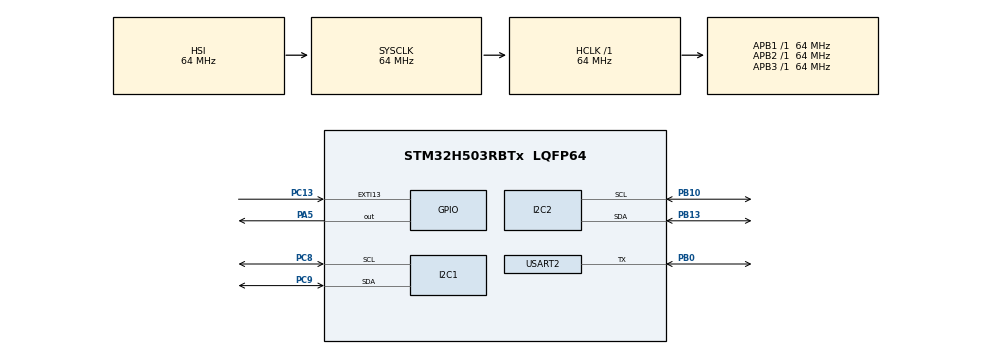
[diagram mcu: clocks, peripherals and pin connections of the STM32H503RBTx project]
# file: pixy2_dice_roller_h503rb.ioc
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BOOTPATH.BootPathName=LEGACY
BOOTPATH.UserSelectedBootPath=LEGACY
I2C1.Timing=0x10707DBC
I2C2.Timing=0x10707DBC
Mcu.Family=STM32H5
Mcu.Name=STM32H503RBTx
Mcu.Package=LQFP64
NUCLEO-H503RB.BUTTON=1
NUCLEO-H503RB.Bsp_Common_DEMO=true
NUCLEO-H503RB.LD2=true
NUCLEO-H503RB.VCP=true
NVIC.EXTI13_IRQn=true\:0\:0\:false\:false\:true\:false\:true\:true
NVIC.PriorityGroup=NVIC_PRIORITYGROUP_4
PA3.Signal=USART3_RX
PA4.Signal=USART3_TX
PA5.Signal=GPIO_Output
PB0.GPIO_PuPd=GPIO_PULLUP
PB0.Mode=Half_duplex(single_wire_mode)
PB0.Signal=USART2_TX
PB10.GPIO_Pu=GPIO_PULLUP
PB10.Mode=I2C
PB10.Signal=I2C2_SCL
PB13.GPIO_Pu=GPIO_PULLUP
PB13.Mode=I2C
PB13.Signal=I2C2_SDA
PC13.Signal=GPXTI13
PC8.Mode=I2C
PC8.Signal=I2C1_SCL
PC9.Mode=I2C
PC9.Signal=I2C1_SDA
ProjectManager.HeapSize=0x200
ProjectManager.StackSize=0x400
ProjectManager.TargetToolchain=STM32CubeIDE
RCC.ADCFreq_Value=64000000
RCC.AHBFreq_Value=64000000
RCC.APB1Freq_Value=64000000
RCC.APB1TimFreq_Value=64000000
RCC.APB2Freq_Value=64000000
RCC.APB2TimFreq_Value=64000000
RCC.APB3Freq_Value=64000000
RCC.CSI_VALUE=4000000
RCC.CortexFreq_Value=64000000
RCC.EPOD_VALUE=4000000
RCC.HCLKFreq_Value=64000000
RCC.HSE_VALUE=24000000
RCC.HSI48_VALUE=48000000
RCC.HSIDiv=RCC_HSI_DIV1
RCC.HSI_VALUE=64000000
RCC.LSE_VALUE=32768
RCC.LSIRC_VALUE=32000
RCC.PLLN=32
RCC.SYSCLKFreq_VALUE=64000000
RCC.USBFreq_Value=48000000
RCC.VCOOutputFreq_Value=128000000
USART2.BaudRate=1000000
USART2.VirtualMode-Half_duplex(single_wire_mode)=VM_ASYNC
VP_BOOTPATH_VS_BOOTPATH.Mode=BP_Activate
VP_CORTEX_M33_NS_VS_Hclk.Mode=Hclk_Mode
VP_ICACHE_VS_ICACHE.Mode=DirectMappedCache
VP_MEMORYMAP_VS_MEMORYMAP.Mode=CurAppReg
VP_NUCLEO-H503RB_VS_BSP_COMMON.Mode=COMMON
VP_PWR_VS_DBSignals.Mode=DisableDeadBatterySignals
VP_PWR_VS_LPOM.Mode=PowerOptimisation
VP_PWR_VS_SECSignals.Mode=Security/Privilege
board=NUCLEO-H503RB

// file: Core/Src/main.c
/* USER CODE BEGIN Header */
/**
 ******************************************************************************
 * @file           : main.c
 * @brief          : Main program body
 ******************************************************************************
 * @attention
 *
 * Copyright (c) 2024 STMicroelectronics.
 * All rights reserved.
 *
 * This software is licensed under terms that can be found in the LICENSE file
 * in the root directory of this software component.
 * If no LICENSE file comes with this software, it is provided AS-IS.
 *
 ******************************************************************************
 */
/* USER CODE END Header */
#include "main.h"
#include "i2c.h"
#include "icache.h"
#include "memorymap.h"
#include "usart.h"
#include "gpio.h"

/* USER CODE BEGIN Includes */
#include <stdio.h>
#include <stdlib.h>
#include <string.h>

#include "ssd1306.h"
#include "sts3215_servo.h"
#include "pixy2.h"
/* USER CODE END Includes */

/* USER CODE BEGIN PD */
#define STS3215_ID 1
#define REFRESH_RATE 4000 // ms
/* USER CODE END PD */

COM_InitTypeDef BspCOMInit;
__IO uint32_t BspButtonState = BUTTON_RELEASED;

/* USER CODE BEGIN PV */
uint32_t softTimerOLED;
char lcd_line[32];

uint8_t change_position_flag;
uint16_t ref_position;

uint8_t drive_internal_temperature;
uint8_t drive_supply_voltage;

uint16_t refresh_rate = REFRESH_RATE;

uint8_t pixy2_found_flag = 0;
/* USER CODE END PV */

void SystemClock_Config(void);

int main(void)
{

	/* MCU Configuration--------------------------------------------------------*/

	/* Reset of all peripherals, Initializes the Flash interface and the Systick. */
	HAL_Init();

	/* Configure the system clock */
	SystemClock_Config();

	/* Initialize all configured peripherals */
	MX_GPIO_Init();
	MX_USART2_UART_Init();
	MX_ICACHE_Init();
	MX_I2C2_Init();
	MX_I2C1_Init();
	/* USER CODE BEGIN 2 */
	ssd1306_Init();
	ssd1306_Fill(Black);
	ssd1306_SetCursor(22, 2);
	ssd1306_WriteString("ufnalski.edu.pl", Font_6x8, White);
	ssd1306_SetCursor(13, 15);
	ssd1306_WriteString("Dice roller/tester", Font_6x8, White);
	ssd1306_SetCursor(15, 25);
	ssd1306_WriteString("(Pixy2 + STS3215)", Font_6x8, White);
	ssd1306_UpdateScreen();
	/* USER CODE END 2 */

	/* Initialize led */
	BSP_LED_Init(LED_GREEN);

	/* Initialize USER push-button, will be used to trigger an interrupt each time it's pressed.*/
	BSP_PB_Init(BUTTON_USER, BUTTON_MODE_EXTI);

	/* Initialize COM1 port (115200, 8 bits (7-bit data + 1 stop bit), no parity */
	BspCOMInit.BaudRate = 115200;
	BspCOMInit.WordLength = COM_WORDLENGTH_8B;
	BspCOMInit.StopBits = COM_STOPBITS_1;
	BspCOMInit.Parity = COM_PARITY_NONE;
	BspCOMInit.HwFlowCtl = COM_HWCONTROL_NONE;
	if (BSP_COM_Init(COM1, &BspCOMInit) != BSP_ERROR_NONE)
	{
		Error_Handler();
	}

	/* USER CODE BEGIN BSP */

	/* -- Sample board code to send message over COM1 port ---- */
	printf(
			"\r\nWelcome to STM32 + Pixy2 + STS3215 automatic dice roller!\r\n\r\n");

	/* -- Sample board code to switch on led ---- */
	BSP_LED_On(LED_GREEN);

	printf("Searching for Pixy2: ");
	HAL_StatusTypeDef i2c_result;

	for (uint8_t i = 1; i < 128; i++)
	{

		i2c_result = HAL_I2C_IsDeviceReady(PIXY2_I2C, (uint16_t) (i << 1), 2,
				2);
		if (i2c_result != HAL_OK) // HAL_ERROR or HAL_BUSY or HAL_TIMEOUT
		{
			printf("."); // No ACK received at that address
		}
		if (i2c_result == HAL_OK)
		{
			printf("0x%X", i); // Received an ACK at that address
			pixy2_found_flag = 1;
		}
	}
	printf("\r\n");

	if (1 == pixy2_found_flag)
	{
		printf("Pixy2 found :)\r\n\r\n");
	}
	else
	{
		printf("No Pixy2 found :(\r\n\r\n");
	}

	softTimerOLED = HAL_GetTick();

	// Testing communication with Pixy2
	Pixy2SetLamp(1, 1);
	HAL_Delay(2000);
	Pixy2SetLamp(0, 0);

	// Changing baud rate for UART to make it compatible with all converters out there ever produced :)
	STS3215SetBaudrate(STS3215_ID, 115200);
	MX_USART1_UART_Init_115200();
	STS3215SetSilentMode(STS3215_ID);

	// Testing motor mode - just for fun
	STS3215SetMotorMode(STS3215_ID);

	STS3215SetSpeed(STS3215_ID, 2000);
	HAL_Delay(1500);

	STS3215SetSpeed(STS3215_ID, 0);
	HAL_Delay(1500);

	STS3215SetSpeed(STS3215_ID, -2000);
	HAL_Delay(1500);

	STS3215SetSpeed(STS3215_ID, 0);
	HAL_Delay(1500);

	STS3215SetServoMode(STS3215_ID);

	/* USER CODE END BSP */

	/* Infinite loop */
	/* USER CODE BEGIN WHILE */
	while (1)
	{
		if ((HAL_GetTick() - softTimerOLED) > refresh_rate)
		{
			softTimerOLED = HAL_GetTick();
			change_position_flag = change_position_flag == 0 ? 1 : 0; // toggle the flag

			STS3215ReadTemperature(STS3215_ID, &drive_internal_temperature);
			STS3215ReadVoltage(STS3215_ID, &drive_supply_voltage);

			ssd1306_SetCursor(10, 36);
			sprintf(lcd_line, "Temp.:    %u deg. C",
					drive_internal_temperature);
			ssd1306_WriteString(lcd_line, Font_6x8, White);
			ssd1306_SetCursor(10, 46);
			sprintf(lcd_line, "Voltage:   %.1f V",
					((float) drive_supply_voltage) / 10.0);
			ssd1306_WriteString(lcd_line, Font_6x8, White);

			if (0 == change_position_flag)
			{
				ref_position = 0;
				refresh_rate = REFRESH_RATE / 2;

				switch (Pixy2SignatureDetect(
						PIXY2_SIGNATURE_1 | PIXY2_SIGNATURE_2
								| PIXY2_SIGNATURE_3 | PIXY2_SIGNATURE_4
								| PIXY2_SIGNATURE_5 | PIXY2_SIGNATURE_6))
				{
				case 1:
					printf("Dice face color: %s.\r\n", PIXY2_LABEL_1);
					sprintf(lcd_line, "Dice face: %s   ", PIXY2_LABEL_1);
					break;
				case 2:
					printf("Dice face color: %s.   \r\n", PIXY2_LABEL_2);
					sprintf(lcd_line, "Dice face: %s   ", PIXY2_LABEL_2);
					break;
				case 3:
					printf("Dice face color: %s.   \r\n", PIXY2_LABEL_3);
					sprintf(lcd_line, "Dice face: %s   ", PIXY2_LABEL_3);
					break;
				case 4:
					printf("Dice face color: %s.   \r\n", PIXY2_LABEL_4);
					sprintf(lcd_line, "Dice face: %s   ", PIXY2_LABEL_4);
					break;
				case 5:
					printf("Dice face color: %s.   \r\n", PIXY2_LABEL_5);
					sprintf(lcd_line, "Dice face: %s   ", PIXY2_LABEL_5);
					break;
				case 6:
					printf("Dice face color: %s.   \r\n", PIXY2_LABEL_6);
					sprintf(lcd_line, "Dice face: %s   ", PIXY2_LABEL_6);
					break;
				case 0xFF:
					printf("Communication error.\r\n");
					sprintf(lcd_line, "Communication error.");
					break;
				default:
					printf("No face detected - check the illumination.\r\n");
					sprintf(lcd_line, "Dice face: %s.   ", "ERROR");
				}

				ssd1306_SetCursor(10, 56);
				ssd1306_WriteString(lcd_line, Font_6x8, White);
				ssd1306_UpdateScreen();
//				HAL_Delay(20000); // take photo
				printf("Rolling...\r\n");
			}
			else
			{
				ref_position = 4095;  // resolution 360 degrees / 4096
				refresh_rate = REFRESH_RATE;
			}

			STS3215TurnToPosition(STS3215_ID, ref_position, 0, 3000, 50);
		}

		/* -- Sample board code for User push-button in interrupt mode ---- */
		if (BspButtonState == BUTTON_PRESSED)
		{
			/* Update button state */
			BspButtonState = BUTTON_RELEASED;
			/* -- Sample board code to toggle led ---- */
			BSP_LED_Toggle(LED_GREEN);

			/* ..... Perform your action ..... */
		}
		/* USER CODE END WHILE */

	}
}

void SystemClock_Config(void)
{
	RCC_OscInitTypeDef RCC_OscInitStruct =
	{ 0 };
	RCC_ClkInitTypeDef RCC_ClkInitStruct =
	{ 0 };

	/** Configure the main internal regulator output voltage
	 */
	__HAL_PWR_VOLTAGESCALING_CONFIG(PWR_REGULATOR_VOLTAGE_SCALE3);

	while (!__HAL_PWR_GET_FLAG(PWR_FLAG_VOSRDY))
	{
	}

	/** Initializes the RCC Oscillators according to the specified parameters
	 * in the RCC_OscInitTypeDef structure.
	 */
	RCC_OscInitStruct.OscillatorType = RCC_OSCILLATORTYPE_HSI;
	RCC_OscInitStruct.HSIState = RCC_HSI_ON;
	RCC_OscInitStruct.HSIDiv = RCC_HSI_DIV1;
	RCC_OscInitStruct.HSICalibrationValue = RCC_HSICALIBRATION_DEFAULT;
	RCC_OscInitStruct.PLL.PLLState = RCC_PLL_NONE;
	if (HAL_RCC_OscConfig(&RCC_OscInitStruct) != HAL_OK)
	{
		Error_Handler();
	}

	/** Initializes the CPU, AHB and APB buses clocks
	 */
	RCC_ClkInitStruct.ClockType = RCC_CLOCKTYPE_HCLK | RCC_CLOCKTYPE_SYSCLK
			| RCC_CLOCKTYPE_PCLK1 | RCC_CLOCKTYPE_PCLK2 | RCC_CLOCKTYPE_PCLK3;
	RCC_ClkInitStruct.SYSCLKSource = RCC_SYSCLKSOURCE_HSI;
	RCC_ClkInitStruct.AHBCLKDivider = RCC_SYSCLK_DIV1;
	RCC_ClkInitStruct.APB1CLKDivider = RCC_HCLK_DIV1;
	RCC_ClkInitStruct.APB2CLKDivider = RCC_HCLK_DIV1;
	RCC_ClkInitStruct.APB3CLKDivider = RCC_HCLK_DIV1;

	if (HAL_RCC_ClockConfig(&RCC_ClkInitStruct, FLASH_LATENCY_3) != HAL_OK)
	{
		Error_Handler();
	}

	/** Configure the programming delay
	 */
	__HAL_FLASH_SET_PROGRAM_DELAY(FLASH_PROGRAMMING_DELAY_1);
}

/**
 * @brief BSP Push Button callback
 * @param Button Specifies the pressed button
 * @retval None
 */
void BSP_PB_Callback(Button_TypeDef Button)
{
	if (Button == BUTTON_USER)
	{
		BspButtonState = BUTTON_PRESSED;
	}
}

void Error_Handler(void)
{
	__disable_irq();
	while (1)
	{
	}
}
